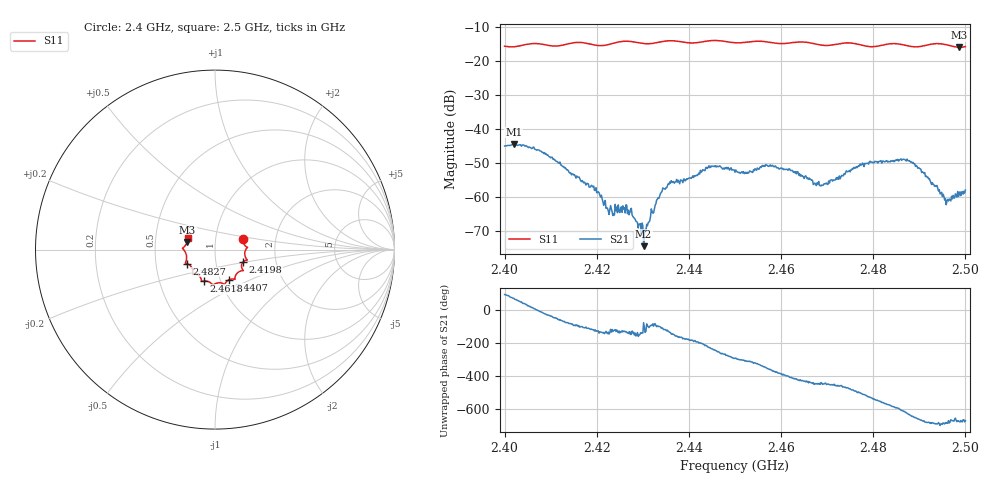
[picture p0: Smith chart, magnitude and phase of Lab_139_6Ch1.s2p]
# Hz S RI R 50
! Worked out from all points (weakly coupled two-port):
!   601 points, 2.4 GHz to 2.5 GHz, reference 50 ohm
!   highest |S21| = -44.44 dB at 2.402 GHz (marker M1); lowest = -74.6 dB at 2.4302 GHz (marker M2)
!   lowest |S11| = -15.9 dB at 2.4987 GHz (marker M3), VSWR 1.38, Z = 36.5 + j3.23 ohm
!   |S11| at or under -10 dB: start of sweep to end of sweep
!   S12 and S22 are empty: the file has one direction only
!   S11 on the Smith chart (normalised r, x): 2.4 GHz: 1.35, +0.17; 2.4198 GHz: 1.36, -0.19; 2.4407 GHz: 1.10, -0.38; 2.4618 GHz: 0.83, -0.30; 2.4827 GHz: 0.72, -0.12; 2.5 GHz: 0.73, +0.09
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2.4e9  0.1544 0.0614  -0.000645 0.00556  0 0  0 0
2.402e9  0.1588 0.0356  0.00172 0.00574  0 0  0 0
2.407833e9  0.1786 0.0101  0.00467 -0.000588  0 0  0 0
2.416667e9  0.1788 -0.0588  -0.000241 -0.00165  0 0  0 0
2.419833e9  0.1575 -0.0676  -0.000808 -0.0011  0 0  0 0
2.423e9  0.1486 -0.0996  -0.00031 -0.000673  0 0  0 0
2.427e9  0.1571 -0.1172  -0.000423 -0.00034  0 0  0 0
2.430167e9  0.1322 -0.1245  4.98e-05 -0.00018  0 0  0 0
2.433333e9  0.1116 -0.1529  -0.000135 -0.000959  0 0  0 0
2.435833e9  0.1117 -0.1657  -0.00114 -0.0012  0 0  0 0
2.440667e9  0.0792 -0.1676  -0.00193 1.31e-05  0 0  0 0
2.444833e9  0.054 -0.1936  -0.00167 0.00219  0 0  0 0
2.45e9  0.027 -0.1848  0.000886 0.00212  0 0  0 0
2.461833e9  -0.0617 -0.1749  0.00177 -0.00188  0 0  0 0
2.466667e9  -0.0758 -0.1681  0.000268 -0.00173  0 0  0 0
2.468833e9  -0.0849 -0.1497  0.000196 -0.00148  0 0  0 0
2.482667e9  -0.1581 -0.0779  -0.00294 0.00148  0 0  0 0
2.483333e9  -0.1621 -0.0769  -0.00276 0.00186  0 0  0 0
2.4885e9  -0.1582 -0.0422  0.000721 0.00306  0 0  0 0
2.496e9  -0.1729 0.0144  0.000686 0.000535  0 0  0 0
2.498667e9  -0.1542 0.0432  0.000796 0.000773  0 0  0 0
2.5e9  -0.151 0.063  0.000809 0.000959  0 0  0 0
